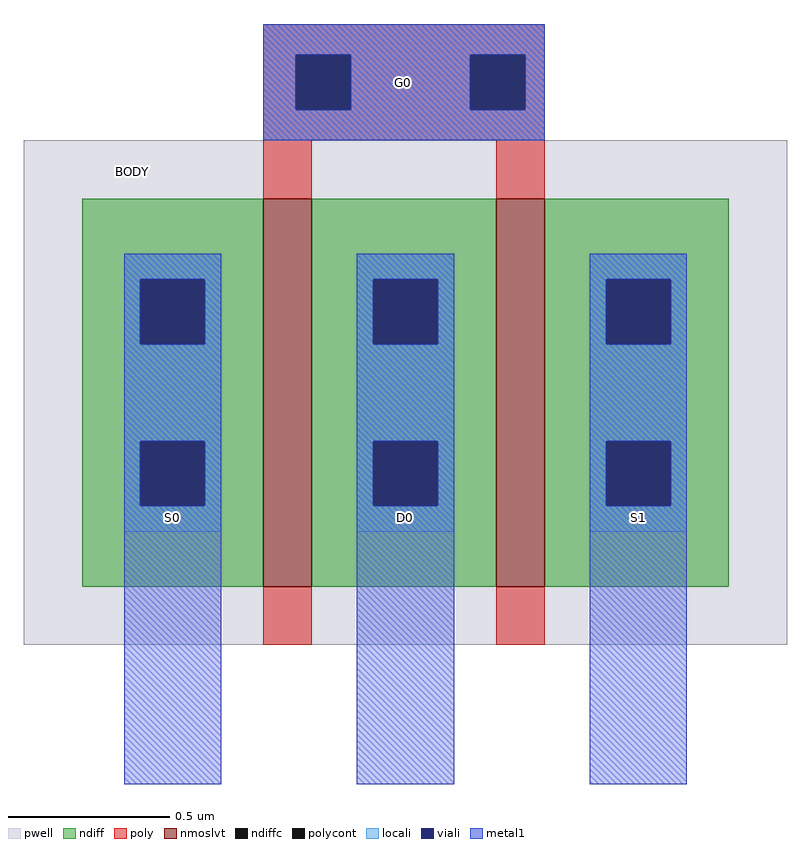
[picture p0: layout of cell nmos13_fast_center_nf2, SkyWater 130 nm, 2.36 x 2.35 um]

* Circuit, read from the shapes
.subckt nmos13_fast_center_nf2 D0 G0 S0 S1 BODY
XM1 D0 G0 S0 BODY sky130_fd_pr__nfet_01v8_lvt w=1.2 l=0.15
XM2 S1 G0 D0 BODY sky130_fd_pr__nfet_01v8_lvt w=1.2 l=0.15
.ends

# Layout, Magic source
magic
tech sky130A
magscale 1 2
<< pwell >>
rect -92 372 380 684
<< nmoslvt >>
rect 56 408 86 648
rect 200 408 230 648
<< ndiff >>
rect -56 598 56 648
rect -56 558 -20 598
rect 20 558 56 598
rect -56 498 56 558
rect -56 458 -20 498
rect 20 458 56 498
rect -56 408 56 458
rect 86 598 200 648
rect 86 558 124 598
rect 164 558 200 598
rect 86 498 200 558
rect 86 458 124 498
rect 164 458 200 498
rect 86 408 200 458
rect 230 598 344 648
rect 230 558 268 598
rect 308 558 344 598
rect 230 498 344 558
rect 230 458 268 498
rect 308 458 344 498
rect 230 408 344 458
<< ndiffc >>
rect -20 558 20 598
rect -20 458 20 498
rect 124 558 164 598
rect 124 458 164 498
rect 268 558 308 598
rect 268 458 308 498
<< poly >>
rect 56 737 230 756
rect 56 703 76 737
rect 110 703 184 737
rect 218 703 230 737
rect 56 684 230 703
rect 56 648 86 684
rect 200 648 230 684
rect 56 372 86 408
rect 200 372 230 408
<< polycont >>
rect 76 703 110 737
rect 184 703 218 737
<< locali >>
rect 56 737 230 756
rect 56 703 76 737
rect 110 703 184 737
rect 218 703 230 737
rect 56 684 230 703
rect -30 598 30 614
rect -30 558 -20 598
rect 20 558 30 598
rect -30 498 30 558
rect -30 458 -20 498
rect 20 458 30 498
rect -30 442 30 458
rect 114 598 174 614
rect 114 558 124 598
rect 164 558 174 598
rect 114 498 174 558
rect 114 458 124 498
rect 164 458 174 498
rect 114 442 174 458
rect 258 598 318 614
rect 258 558 268 598
rect 308 558 318 598
rect 258 498 318 558
rect 258 458 268 498
rect 308 458 318 498
rect 258 442 318 458
<< viali >>
rect 76 703 110 737
rect 184 703 218 737
rect -20 558 20 598
rect -20 458 20 498
rect 124 558 164 598
rect 124 458 164 498
rect 268 558 308 598
rect 268 458 308 498
<< metal1 >>
rect 56 737 230 756
rect 56 703 76 737
rect 110 703 184 737
rect 218 703 230 737
rect 56 684 230 703
rect -30 598 30 614
rect -30 558 -20 598
rect 20 558 30 598
rect -30 498 30 558
rect -30 458 -20 498
rect 20 458 30 498
rect -30 286 30 458
rect 114 598 174 614
rect 114 558 124 598
rect 164 558 174 598
rect 114 498 174 558
rect 114 458 124 498
rect 164 458 174 498
rect 114 286 174 458
rect 258 598 318 614
rect 258 558 268 598
rect 308 558 318 598
rect 258 498 318 558
rect 258 458 268 498
rect 308 458 318 498
rect 258 286 318 458
<< labels >>
flabel metal1 -30 288 30 614 0 FreeSans 240 0 0 0 S0
port 3 nsew
flabel metal1 114 288 174 614 0 FreeSans 240 0 0 0 D0
port 1 nsew
flabel metal1 258 288 318 614 0 FreeSans 240 0 0 0 S1
port 4 nsew
flabel metal1 56 684 230 756 0 FreeSans 240 0 0 0 G0
port 2 nsew
rlabel pwell -40 654 -10 676 1 BODY
port 5 nsew
<< end >>
